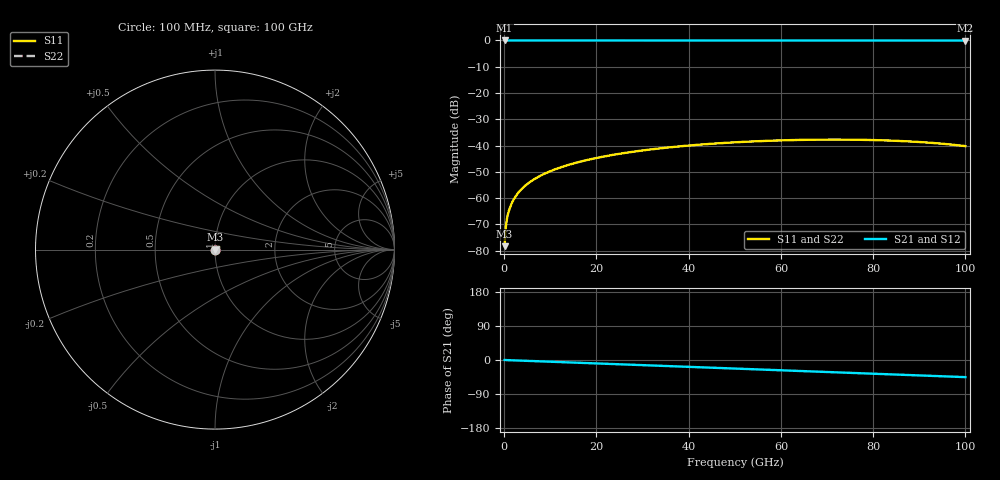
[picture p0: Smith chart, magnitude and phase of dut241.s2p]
! Touchstone file exported from HFSS 2026.1.0
!  File:  C:/ffzhzh/LocalFiles/Ansys_Project_Files/temp_train_TSV_241_1783508171_55944.aedt
!  Generated:  06:57:19 PM Jul  8, 2026
!  Design:  TSV
!  Project:  temp_train_TSV_241_1783508171_55944
! Variables:
!  h_bsmrdl = 2um
!  h_ox = 20um
!  h_rdl = 5um
!  h_sub = 89.82um
!  h_tmrdl = 5um
!  h_tsv = 89.82um
!  h_via = 3um
!  l_bsmrdl = 300um
!  l_sub = 425.36um
!  l_tmrdl = 200um
!  m_sub = 200um
!  pitch = 52.96um
!  r_tsv = 12.68um
!  s_tmrdl = 10um
!  w_bsmrdl = 18um
!  w_sub = 500um
!  w_tmrdl = 12um
!  x_tsv_center1 = 206um
!  x_tsv_center2 = 524um
!  x_tsv_center3 = 736um
!  x_tsv_center4 = 1054um
!  x_tsv_center5 = 1266um
!  x_tsv_center6 = 1584um
# GHz S MA R 50.000000
! Terminal data exported
! Port[1] = TSV1_1_T1
! Port[2] = TSV1_1_T2
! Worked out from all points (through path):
!   1000 points, 100 MHz to 100 GHz, reference 50 ohm
!   highest |S21| = 0.00 dB at 100 MHz (marker M1); lowest = 0.0 dB at 100 GHz (marker M2)
!   group delay of S21, straight-line fit = 1.25 ps
!   lowest |S11| = -78.3 dB at 100 MHz (marker M3), VSWR 1.00, Z = 50 + j0.00735 ohm
!   |S11| at or under -10 dB: start of sweep to end of sweep
!   |S22| runs from -78.3 to -37.7 dB; largest |S21 - S12| = 6.6e-15
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0.1  0.0001213 37.3  0.9999 -0.0  0.9999 -0.0  0.0001213 37.3
! Gamma 0 0 0 0
! Port Impedance 50 0 50 0
0.3  0.000243 56.7  0.9999 -0.1  0.9999 -0.1  0.000243 56.7
0.8  0.0004843 60.5  0.9998 -0.4  0.9998 -0.4  0.0004843 60.5
1  0.0005611 61.4  0.9997 -0.5  0.9997 -0.5  0.0005611 61.4
1.3  0.0006701 62.8  0.9997 -0.6  0.9997 -0.6  0.0006701 62.8
1.8  0.000845 64.8  0.9996 -0.8  0.9996 -0.8  0.000845 64.8
2.4  0.001047 66.3  0.9996 -1.1  0.9996 -1.1  0.001047 66.3
3.1  0.001273 67.4  0.9995 -1.4  0.9995 -1.4  0.001273 67.4
3.9  0.001519 68.3  0.9995 -1.8  0.9995 -1.8  0.001519 68.3
6.1  0.002162 69.8  0.9994 -2.8  0.9994 -2.8  0.002162 69.8
8.9  0.002944 70.5  0.9992 -4.0  0.9992 -4.0  0.002945 70.5
12.5  0.003904 70.5  0.9991 -5.7  0.9991 -5.7  0.003905 70.5
16.8  0.005002 69.9  0.9989 -7.6  0.9989 -7.6  0.005003 69.9
24.3  0.006799 68.0  0.9987 -11.0  0.9987 -11.0  0.0068 68.0
33.4  0.008751 65.0  0.9984 -15.0  0.9984 -15.0  0.008753 64.9
41.4  0.01022 62.0  0.9982 -18.6  0.9982 -18.6  0.01023 61.9
50.1  0.01152 58.4  0.998 -22.6  0.998 -22.6  0.01152 58.3
66.7  0.01289 51.1  0.9977 -30.1  0.9977 -30.1  0.01289 50.9
75.3  0.01291 47.0  0.9975 -34.0  0.9975 -34.0  0.01292 46.7
83.4  0.01244 42.9  0.9973 -37.6  0.9973 -37.6  0.01245 42.6
92.1  0.01134 38.1  0.9971 -41.6  0.9971 -41.6  0.01135 37.7
100  0.009731 33.3  0.9969 -45.2  0.9969 -45.2  0.009748 32.7
